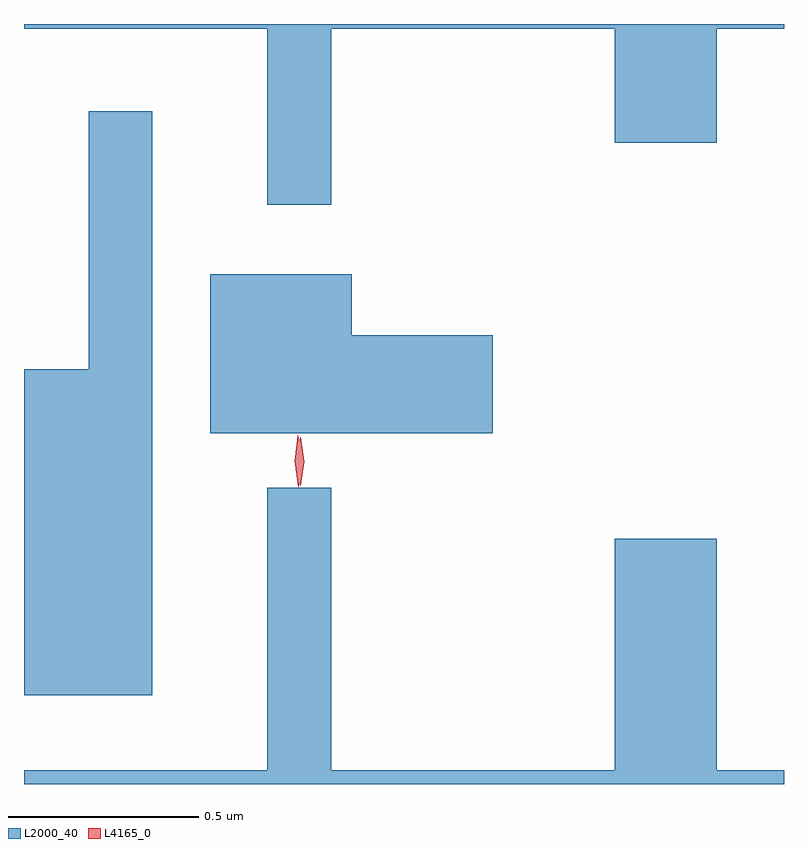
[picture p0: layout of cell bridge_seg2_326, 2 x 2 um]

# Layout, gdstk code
import gdstk
lib = gdstk.Library(unit=1e-6, precision=1e-09)
def P(c, l, *ps):  # polygons
    for p in ps: c.add(gdstk.Polygon(p, *l))
L2000_40 = (2000, 40)
L4165_0 = (4165, 0)

bridge_seg2_326 = lib.new_cell('bridge_seg2_326')
P(bridge_seg2_326, L2000_40, [(434.109,1063.856),(434.856,1063.856),(434.856,1063.556),(435.124,1063.556),(435.124,1063.856),(435.301,1063.856),(435.301,1063.868),(433.301,1063.868),(433.301,1063.856),(433.941,1063.856),(433.941,1063.393),(434.109,1063.393)],
  [(433.639,1063.638),(433.471,1063.638),(433.471,1062.959),(433.301,1062.959),(433.301,1062.101),(433.639,1062.101)],
  [(434.534,1063.049),(434.164,1063.049),(434.164,1063.209),(433.791,1063.209),(433.791,1062.791),(434.534,1062.791)],
  [(435.301,1061.904),(435.124,1061.904),(435.124,1062.514),(434.856,1062.514),(434.856,1061.904),(434.109,1061.904),(434.109,1062.648),(433.941,1062.648),(433.941,1061.904),(433.301,1061.904),(433.301,1061.868),(435.301,1061.868)])
P(bridge_seg2_326, L4165_0, [(434.023,1062.65),(434.023,1062.65),(434.013,1062.718),(434.022,1062.785),(434.022,1062.786),(434.023,1062.785),(434.033,1062.718),(434.024,1062.65)],
  [(434.028,1062.653),(434.028,1062.654),(434.018,1062.716),(434.028,1062.78),(434.028,1062.78),(434.029,1062.78),(434.038,1062.716),(434.029,1062.654)])

lib.write_gds('bridge_seg2_326.gds')
